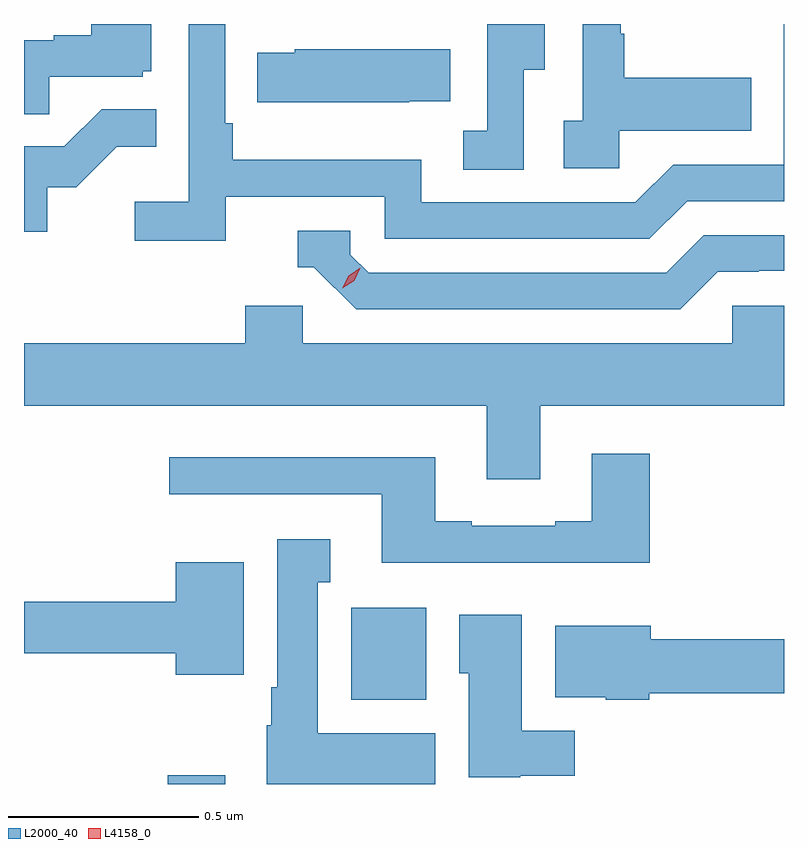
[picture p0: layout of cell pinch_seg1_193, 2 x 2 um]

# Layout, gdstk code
import gdstk
lib = gdstk.Library(unit=1e-6, precision=1e-09)
def R(c, l, rs):  # rectangles x0, y0, x1, y1
    for r in rs: c.add(gdstk.rectangle(r[:2], r[2:], *l))
def P(c, l, *ps):  # polygons
    for p in ps: c.add(gdstk.Polygon(p, *l))
L2000_40 = (2000, 40)
L4158_0 = (4158, 0)

pinch_seg1_193 = lib.new_cell('pinch_seg1_193')
R(pinch_seg1_193, L2000_40, [(1127.027,561.392,1127.179,561.415), (1127.51,561.614,1127.707,561.856)])
P(pinch_seg1_193, L2000_40, [(1127.18,562.938),(1127.598,562.938),(1127.598,562.827),(1128.295,562.827),(1128.394,562.926),(1128.649,562.926),(1128.649,563.392),(1128.648,563.392),(1128.648,563.022),(1128.357,563.022),(1128.258,562.923),(1127.694,562.923),(1127.694,563.035),(1127.198,563.035),(1127.198,563.131),(1127.178,563.131),(1127.178,563.392),(1127.082,563.392),(1127.082,562.924),(1126.941,562.924),(1126.941,562.822),(1127.18,562.822)],
  [(1126.715,563.253),(1126.962,563.253),(1126.962,563.268),(1126.984,563.268),(1126.984,563.392),(1126.826,563.392),(1126.826,563.362),(1126.727,563.362),(1126.727,563.349),(1126.649,563.349),(1126.649,563.155),(1126.715,563.155)],
  [(1128.216,563.111),(1128.563,563.111),(1128.563,563.251),(1128.229,563.251),(1128.229,563.366),(1128.219,563.366),(1128.219,563.392),(1128.12,563.392),(1128.12,563.138),(1128.069,563.138),(1128.069,563.013),(1128.216,563.013)],
  [(1127.964,563.272),(1128.019,563.272),(1128.019,563.392),(1127.868,563.392),(1127.868,563.111),(1127.805,563.111),(1127.805,563.008),(1127.964,563.008)],
  [(1127.663,563.189),(1127.771,563.189),(1127.771,563.326),(1127.361,563.326),(1127.361,563.316),(1127.263,563.316),(1127.263,563.186),(1127.663,563.186)],
  [(1126.71,562.962),(1126.786,562.962),(1126.893,563.069),(1126.997,563.069),(1126.997,563.168),(1126.853,563.168),(1126.755,563.07),(1126.649,563.07),(1126.649,562.845),(1126.71,562.845)],
  [(1128.475,562.74),(1128.582,562.74),(1128.582,562.743),(1128.649,562.743),(1128.649,562.836),(1128.438,562.836),(1128.339,562.737),(1127.556,562.737),(1127.508,562.785),(1127.508,562.848),(1127.369,562.848),(1127.369,562.752),(1127.412,562.752),(1127.523,562.641),(1128.376,562.641)],
  [(1128.007,562.388),(1128.649,562.388),(1128.649,562.65),(1128.513,562.65),(1128.513,562.552),(1127.382,562.552),(1127.382,562.65),(1127.231,562.65),(1127.231,562.552),(1126.649,562.552),(1126.649,562.388),(1127.867,562.388),(1127.867,562.194),(1128.007,562.194)],
  [(1128.296,562.261),(1128.143,562.261),(1128.143,562.084),(1128.047,562.084),(1128.047,562.071),(1127.827,562.071),(1127.827,562.084),(1127.731,562.084),(1127.731,562.252),(1127.031,562.252),(1127.031,562.155),(1127.591,562.155),(1127.591,561.974),(1128.296,561.974)],
  [(1127.731,561.526),(1127.422,561.526),(1127.422,561.923),(1127.455,561.923),(1127.455,562.036),(1127.315,562.036),(1127.315,561.646),(1127.3,561.646),(1127.3,561.546),(1127.288,561.546),(1127.288,561.392),(1127.731,561.392)],
  [(1127.227,561.976),(1127.048,561.976),(1127.048,561.872),(1126.649,561.872),(1126.649,561.736),(1127.048,561.736),(1127.048,561.68),(1127.227,561.68)],
  [(1127.955,561.414),(1128.098,561.414),(1128.098,561.532),(1127.959,561.532),(1127.959,561.838),(1127.795,561.838),(1127.795,561.684),(1127.819,561.684),(1127.819,561.41),(1127.955,561.41)],
  [(1128.294,561.631),(1128.649,561.631),(1128.649,561.773),(1128.298,561.773),(1128.298,561.808),(1128.047,561.808),(1128.047,561.62),(1128.18,561.62),(1128.18,561.614),(1128.294,561.614)])
P(pinch_seg1_193, L4158_0, [(1127.487,562.697),(1127.487,562.697),(1127.503,562.73),(1127.534,562.75),(1127.534,562.75),(1127.534,562.75),(1127.518,562.717),(1127.487,562.697)])

lib.write_gds('pinch_seg1_193.gds')
